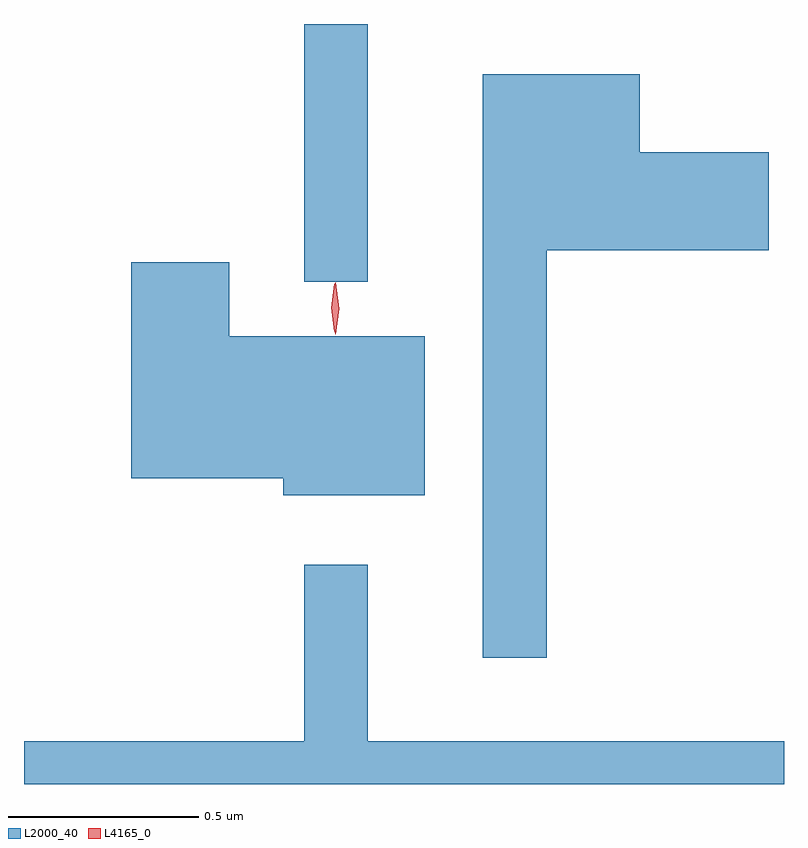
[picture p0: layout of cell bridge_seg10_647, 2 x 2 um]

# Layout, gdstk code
import gdstk
lib = gdstk.Library(unit=1e-6, precision=1e-09)
def R(c, l, rs):  # rectangles x0, y0, x1, y1
    for r in rs: c.add(gdstk.rectangle(r[:2], r[2:], *l))
def P(c, l, *ps):  # polygons
    for p in ps: c.add(gdstk.Polygon(p, *l))
L2000_40 = (2000, 40)
L4165_0 = (4165, 0)

bridge_seg10_647 = lib.new_cell('bridge_seg10_647')
R(bridge_seg10_647, L2000_40, [(769.981,2148.693,770.149,2149.371)])
P(bridge_seg10_647, L2000_40, [(770.619,2148.776),(771.204,2148.776),(771.204,2149.034),(770.864,2149.034),(770.864,2149.239),(770.451,2149.239),(770.451,2147.703),(770.619,2147.703)],
  [(770.299,2148.549),(769.784,2148.549),(769.784,2148.744),(769.526,2148.744),(769.526,2148.176),(769.926,2148.176),(769.926,2148.131),(770.299,2148.131)],
  [(771.244,2147.484),(770.149,2147.484),(770.149,2147.948),(769.981,2147.948),(769.981,2147.484),(769.244,2147.484),(769.244,2147.371),(771.244,2147.371)])
P(bridge_seg10_647, L4165_0, [(770.063,2148.554),(770.054,2148.622),(770.063,2148.69),(770.064,2148.69),(770.064,2148.69),(770.074,2148.622),(770.064,2148.554),(770.064,2148.554)],
  [(770.061,2148.562),(770.052,2148.624),(770.061,2148.686),(770.062,2148.687),(770.062,2148.686),(770.072,2148.624),(770.062,2148.562),(770.062,2148.562)])

lib.write_gds('bridge_seg10_647.gds')
